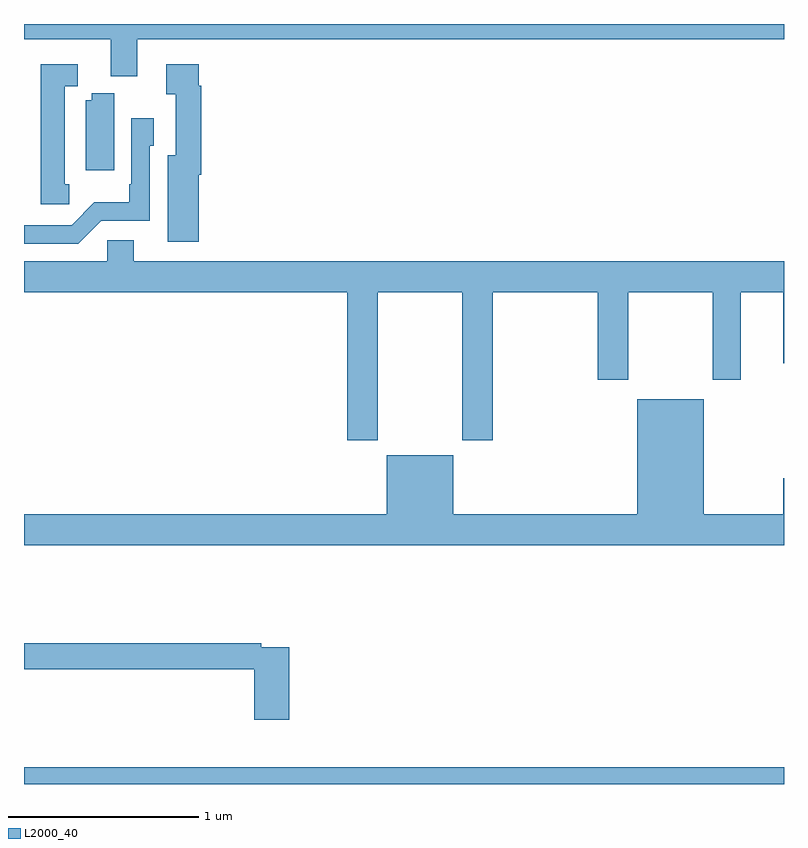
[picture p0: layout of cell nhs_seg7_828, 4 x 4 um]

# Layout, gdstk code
import gdstk
lib = gdstk.Library(unit=1e-6, precision=1e-09)
def R(c, l, rs):  # rectangles x0, y0, x1, y1
    for r in rs: c.add(gdstk.rectangle(r[:2], r[2:], *l))
def P(c, l, *ps):  # polygons
    for p in ps: c.add(gdstk.Polygon(p, *l))
L2000_40 = (2000, 40)

nhs_seg7_828 = lib.new_cell('nhs_seg7_828')
R(nhs_seg7_828, L2000_40, [(173,1026,177,1026.088)])
P(nhs_seg7_828, L2000_40, [(173.596,1029.92),(177,1029.92),(177,1030),(173,1030),(173,1029.92),(173.456,1029.92),(173.456,1029.726),(173.596,1029.726)],
  [(173.237,1029.156),(173.215,1029.156),(173.215,1029.672),(173.284,1029.672),(173.284,1029.787),(173.087,1029.787),(173.087,1029.051),(173.237,1029.051)],
  [(173.92,1029.206),(173.933,1029.206),(173.933,1029.674),(173.92,1029.674),(173.92,1029.787),(173.748,1029.787),(173.748,1029.631),(173.798,1029.631),(173.798,1029.31),(173.756,1029.31),(173.756,1028.853),(173.92,1028.853)],
  [(173.476,1029.635),(173.356,1029.635),(173.356,1029.598),(173.324,1029.598),(173.324,1029.231),(173.476,1029.231)],
  [(173.406,1028.964),(173.661,1028.964),(173.661,1029.36),(173.682,1029.36),(173.682,1029.505),(173.565,1029.505),(173.565,1029.157),(173.553,1029.157),(173.553,1029.061),(173.371,1029.061),(173.25,1028.94),(173,1028.94),(173,1028.844),(173.286,1028.844)],
  [(174.861,1028.588),(175.306,1028.588),(175.306,1027.809),(175.466,1027.809),(175.466,1028.588),(176.021,1028.588),(176.021,1028.127),(176.181,1028.127),(176.181,1028.588),(176.626,1028.588),(176.626,1028.127),(176.773,1028.127),(176.773,1028.588),(176.996,1028.588),(176.996,1028.214),(177,1028.214),(177,1028.752),(173.578,1028.752),(173.578,1028.862),(173.439,1028.862),(173.439,1028.752),(173,1028.752),(173,1028.588),(174.701,1028.588),(174.701,1027.809),(174.861,1027.809)],
  [(177,1027.609),(176.996,1027.609),(176.996,1027.42),(176.578,1027.42),(176.578,1028.026),(176.228,1028.026),(176.228,1027.42),(175.258,1027.42),(175.258,1027.729),(174.908,1027.729),(174.908,1027.42),(173,1027.42),(173,1027.256),(177,1027.256)],
  [(174.395,1026.72),(174.248,1026.72),(174.248,1026.74),(173,1026.74),(173,1026.604),(174.212,1026.604),(174.212,1026.339),(174.395,1026.339)])

lib.write_gds('nhs_seg7_828.gds')
